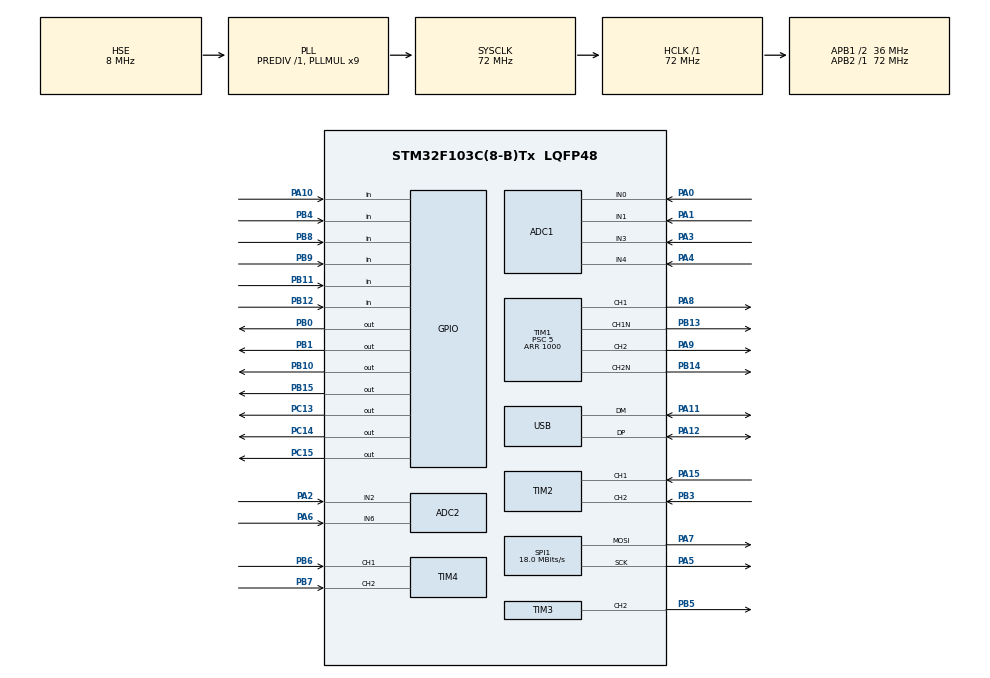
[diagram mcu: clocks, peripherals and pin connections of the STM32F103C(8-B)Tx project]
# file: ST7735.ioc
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ADC1.Channel-0\#ChannelRegularConversion=ADC_CHANNEL_0
ADC1.Channel-1\#ChannelRegularConversion=ADC_CHANNEL_1
ADC1.Channel-2\#ChannelRegularConversion=ADC_CHANNEL_3
ADC1.Channel-3\#ChannelRegularConversion=ADC_CHANNEL_4
ADC1.ContinuousConvMode=ENABLE
ADC1.ExternalTrigConv=ADC_SOFTWARE_START
ADC1.NbrOfConversion=4
ADC1.NbrOfConversionFlag=1
ADC1.Rank-0\#ChannelRegularConversion=1
ADC1.Rank-1\#ChannelRegularConversion=2
ADC1.Rank-2\#ChannelRegularConversion=3
ADC1.Rank-3\#ChannelRegularConversion=4
ADC1.SamplingTime-0\#ChannelRegularConversion=ADC_SAMPLETIME_71CYCLES_5
ADC1.SamplingTime-1\#ChannelRegularConversion=ADC_SAMPLETIME_71CYCLES_5
ADC1.SamplingTime-2\#ChannelRegularConversion=ADC_SAMPLETIME_71CYCLES_5
ADC1.SamplingTime-3\#ChannelRegularConversion=ADC_SAMPLETIME_71CYCLES_5
ADC1.master=1
ADC2.Channel-0\#ChannelRegularConversion=ADC_CHANNEL_2
ADC2.ContinuousConvMode=DISABLE
ADC2.ExternalTrigConv=ADC_SOFTWARE_START
ADC2.NbrOfConversion=1
ADC2.NbrOfConversionFlag=1
ADC2.Rank-0\#ChannelRegularConversion=1
ADC2.SamplingTime-0\#ChannelRegularConversion=ADC_SAMPLETIME_239CYCLES_5
Dma.ADC1.1.Direction=DMA_PERIPH_TO_MEMORY
Dma.ADC1.1.Instance=DMA1_Channel1
Dma.ADC1.1.MemDataAlignment=DMA_MDATAALIGN_HALFWORD
Dma.ADC1.1.MemInc=DMA_MINC_ENABLE
Dma.ADC1.1.Mode=DMA_CIRCULAR
Dma.ADC1.1.PeriphDataAlignment=DMA_PDATAALIGN_HALFWORD
Dma.ADC1.1.PeriphInc=DMA_PINC_DISABLE
Dma.ADC1.1.Priority=DMA_PRIORITY_LOW
Dma.Request0=SPI1_TX
Dma.Request1=ADC1
Dma.SPI1_TX.0.Direction=DMA_MEMORY_TO_PERIPH
Dma.SPI1_TX.0.Instance=DMA1_Channel3
Dma.SPI1_TX.0.MemDataAlignment=DMA_MDATAALIGN_HALFWORD
Dma.SPI1_TX.0.MemInc=DMA_MINC_ENABLE
Dma.SPI1_TX.0.Mode=DMA_NORMAL
Dma.SPI1_TX.0.PeriphDataAlignment=DMA_PDATAALIGN_HALFWORD
Dma.SPI1_TX.0.PeriphInc=DMA_PINC_DISABLE
Dma.SPI1_TX.0.Priority=DMA_PRIORITY_LOW
Mcu.Family=STM32F1
Mcu.Name=STM32F103C(8-B)Tx
Mcu.Package=LQFP48
NVIC.ADC1_2_IRQn=true\:0\:0\:false\:false\:true\:true\:true\:true
NVIC.DMA1_Channel1_IRQn=true\:0\:0\:false\:false\:true\:false\:true\:true
NVIC.DMA1_Channel3_IRQn=true\:0\:0\:false\:false\:true\:false\:true\:true
NVIC.PriorityGroup=NVIC_PRIORITYGROUP_4
NVIC.TIM1_UP_IRQn=true\:0\:0\:false\:false\:true\:true\:true\:true
NVIC.USB_LP_CAN1_RX0_IRQn=true\:0\:0\:false\:false\:true\:false\:true\:true
PA0-WKUP.Signal=ADCx_IN0
PA1.Signal=ADCx_IN1
PA10.GPIO_PuPd=GPIO_PULLUP
PA10.Signal=GPIO_Input
PA11.Mode=Device
PA11.Signal=USB_DM
PA12.Mode=Device
PA12.Signal=USB_DP
PA13.Mode=Serial_Wire
PA13.Signal=SYS_JTMS-SWDIO
PA14.Mode=Serial_Wire
PA14.Signal=SYS_JTCK-SWCLK
PA15.Signal=S_TIM2_CH1_ETR
PA2.Signal=ADCx_IN2
PA3.Signal=ADCx_IN3
PA4.Signal=ADCx_IN4
PA5.Mode=TX_Only_Simplex_Unidirect_Master
PA5.Signal=SPI1_SCK
PA6.Signal=ADCx_IN6
PA7.Mode=TX_Only_Simplex_Unidirect_Master
PA7.Signal=SPI1_MOSI
PA8.Signal=S_TIM1_CH1
PA9.Signal=S_TIM1_CH2
PB0.Signal=GPIO_Output
PB1.Signal=GPIO_Output
PB10.Signal=GPIO_Output
PB11.Signal=GPIO_Input
PB12.GPIO_PuPd=GPIO_PULLUP
PB12.Signal=GPIO_Input
PB13.Mode=PWM Generation1 CH1 CH1N
PB13.Signal=TIM1_CH1N
PB14.Mode=PWM Generation2 CH2 CH2N
PB14.Signal=TIM1_CH2N
PB15.Signal=GPIO_Output
PB3.Signal=S_TIM2_CH2
PB4.GPIO_PuPd=GPIO_PULLUP
PB4.Signal=GPIO_Input
PB5.Signal=S_TIM3_CH2
PB6.Signal=S_TIM4_CH1
PB7.Signal=S_TIM4_CH2
PB8.GPIO_PuPd=GPIO_PULLUP
PB8.Signal=GPIO_Input
PB9.GPIO_PuPd=GPIO_PULLUP
PB9.Signal=GPIO_Input
PC13-TAMPER-RTC.Signal=GPIO_Output
PC14-OSC32_IN.Signal=GPIO_Output
PC15-OSC32_OUT.Signal=GPIO_Output
PD0-OSC_IN.Mode=HSE-External-Oscillator
PD0-OSC_IN.Signal=RCC_OSC_IN
PD1-OSC_OUT.Mode=HSE-External-Oscillator
PD1-OSC_OUT.Signal=RCC_OSC_OUT
ProjectManager.HeapSize=0x200
ProjectManager.StackSize=0x400
ProjectManager.TargetToolchain=MDK-ARM V5.32
RCC.ADCPresc=RCC_ADCPCLK2_DIV6
RCC.AHBFreq_Value=72000000
RCC.APB1CLKDivider=RCC_HCLK_DIV2
RCC.APB1Freq_Value=36000000
RCC.APB1TimFreq_Value=72000000
RCC.APB2Freq_Value=72000000
RCC.APB2TimFreq_Value=72000000
RCC.HCLKFreq_Value=72000000
RCC.PLLMUL=RCC_PLL_MUL9
RCC.PLLSourceVirtual=RCC_PLLSOURCE_HSE
RCC.SYSCLKFreq_VALUE=72000000
RCC.SYSCLKSource=RCC_SYSCLKSOURCE_PLLCLK
RCC.USBFreq_Value=48000000
RCC.USBPrescaler=RCC_USBCLKSOURCE_PLL_DIV1_5
SH.ADCx_IN0.0=ADC1_IN0,IN0
SH.ADCx_IN1.0=ADC1_IN1,IN1
SH.ADCx_IN2.0=ADC2_IN2,IN2
SH.ADCx_IN3.0=ADC1_IN3,IN3
SH.ADCx_IN4.0=ADC1_IN4,IN4
SH.ADCx_IN6.0=ADC2_IN6,IN6
SH.S_TIM1_CH1.0=TIM1_CH1,PWM Generation1 CH1 CH1N
SH.S_TIM1_CH2.0=TIM1_CH2,PWM Generation2 CH2 CH2N
SH.S_TIM2_CH1_ETR.0=TIM2_CH1,Encoder_Interface
SH.S_TIM2_CH2.0=TIM2_CH2,Encoder_Interface
SH.S_TIM3_CH2.0=TIM3_CH2,PWM Generation2 CH2
SH.S_TIM4_CH1.0=TIM4_CH1,Encoder_Interface
SH.S_TIM4_CH2.0=TIM4_CH2,Encoder_Interface
SPI1.BaudRatePrescaler=SPI_BAUDRATEPRESCALER_4
SPI1.CalculateBaudRate=18.0 MBits/s
SPI1.DataSize=SPI_DATASIZE_8BIT
SPI1.Direction=SPI_DIRECTION_2LINES
SPI1.Mode=SPI_MODE_MASTER
SPI1.VirtualType=VM_MASTER
TIM1.Channel-PWM\ Generation1\ CH1\ CH1N=TIM_CHANNEL_1
TIM1.Channel-PWM\ Generation2\ CH2\ CH2N=TIM_CHANNEL_2
TIM1.DeadTime=25
TIM1.OCNPolarity_2=TIM_OCNPOLARITY_LOW
TIM1.OCPolarity_2=TIM_OCPOLARITY_LOW
TIM1.Period=1000
TIM1.Prescaler=5
TIM1.TIM_MasterOutputTrigger=TIM_TRGO_OC3REF
TIM2.EncoderMode=TIM_ENCODERMODE_TI12
TIM3.AutoReloadPreload=TIM_AUTORELOAD_PRELOAD_ENABLE
TIM3.Channel-PWM\ Generation2\ CH2=TIM_CHANNEL_2
TIM3.OCPolarity_2=TIM_OCPOLARITY_LOW
TIM3.Period=1000
TIM3.Prescaler=35
TIM3.TIM_MasterOutputTrigger=TIM_TRGO_UPDATE
TIM4.EncoderMode=TIM_ENCODERMODE_TI12
USB_DEVICE.APP_RX_DATA_SIZE=64
USB_DEVICE.APP_TX_DATA_SIZE=64
USB_DEVICE.CLASS_NAME_FS=CDC
USB_DEVICE.MANUFACTURER_STRING=Dung_Device
USB_DEVICE.VirtualMode=Cdc
USB_DEVICE.VirtualModeFS=Cdc_FS
VP_TIM1_VS_ClockSourceINT.Mode=Internal
VP_TIM3_VS_ClockSourceINT.Mode=Internal
VP_USB_DEVICE_VS_USB_DEVICE_CDC_FS.Mode=CDC_FS
board=custom

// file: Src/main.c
/* USER CODE BEGIN Header */
/**
  ******************************************************************************
  * @file           : main.c
  * @brief          : Main program body
  ******************************************************************************
  * @attention
  *
  * <h2><center>&copy; Copyright (c) 2020 STMicroelectronics.
  * All rights reserved.</center></h2>
  *
  * This software component is licensed by ST under BSD 3-Clause license,
  * the "License"; You may not use this file except in compliance with the
  * License. You may obtain a copy of the License at:
  *                        opensource.org/licenses/BSD-3-Clause
  *
  ******************************************************************************
  */
/* USER CODE END Header */
#include "main.h"
#include "usb_device.h"

/* USER CODE BEGIN Includes */
#include <string.h>
#include "st7789.h"
#include <stdio.h>
#include <math.h>
#include "UI.h"
/* USER CODE END Includes */

ADC_HandleTypeDef hadc1;
ADC_HandleTypeDef hadc2;
DMA_HandleTypeDef hdma_adc1;

SPI_HandleTypeDef hspi1;
DMA_HandleTypeDef hdma_spi1_tx;

TIM_HandleTypeDef htim1;
TIM_HandleTypeDef htim2;
TIM_HandleTypeDef htim3;
TIM_HandleTypeDef htim4;

void SystemClock_Config(void);
static void MX_GPIO_Init(void);
static void MX_DMA_Init(void);
static void MX_SPI1_Init(void);
static void MX_ADC1_Init(void);
static void MX_ADC2_Init(void);
static void MX_TIM1_Init(void);
static void MX_TIM2_Init(void);
static void MX_TIM3_Init(void);
static void MX_TIM4_Init(void);

/* USER CODE BEGIN 0 */

/* =========================================================
 * ADC / POWER STAGE CONSTANTS
 * ========================================================= */

#define ADC_MAX                     4095.0f
#define VREF                        3.3f

#define VIN_DIV_GAIN                11.131f
/*
 * VOUT sensing divider:
 *
 *   Vout ---- 220 kOhm ----+---- ADC
 *                          |
 *                         10 kOhm
 *                          |
 *                         GND
 *
 * Gain = (220k + 10k) / 10k = 23.0
 *
 * 50 V -> ADC ~= 2.17 V
 * 60 V -> ADC ~= 2.61 V
 */
#define VOUT_DIV_GAIN               23.000f

/*
 * VIN low-voltage protection threshold.
 *
 * TEMPORARILY DISABLED for debugging.
 *
 * Keep VIN_MIN_PROTECT = 2.0 V because other code uses it only
 * as a validity threshold for the idle VIN reference.
 *
 * Set VIN_MIN_PROTECT_ENABLE back to 1U when testing is finished.
 */
#define VIN_MIN_PROTECT             2.0f
#define VIN_MIN_PROTECT_ENABLE      0U
#define TEMP_MAX_PROTECT            80.0f

#define CURRENT_MAX                 20.0f
/*
 * Power-stage current targets:
 *   continuous = 12 A
 *   hardware peak capability target = 20 A
 *
 * CURRENT_GAIN=100 and SHUNT_R=0.002:
 *   Vsense = I * 0.2 V
 *   ADC 3.3 V full-scale -> ~16.5 A
 *
 * So software hard OCP is kept below ADC saturation.
 */
#define I_CONTINUOUS_MAX_A           12.0f
#define I_PEAK_HARDWARE_A            20.0f
#define I_HARD_LIMIT_A               15.5f
#define POWER_START_BLANK_MS        200U

#define CURRENT_GAIN                100.0f
#define SHUNT_R                     0.002f

/* =========================================================
 * SETPOINT / RATIO LIMITS
 * ========================================================= */

#define VSET_MIN                    1.0f
#define VSET_MAX                    50.0f
#define VSET_STEP                   0.1f

#define ISET_MIN                    0.1f
#define ISET_MAX                    I_CONTINUOUS_MAX_A
#define ISET_STEP                   0.1f

/*
 * =========================================================
 * PURE SYNCHRONOUS BUCK
 * =========================================================
 *
 * Old BOOST high-side path Q3 is bypassed in hardware.
 * Old BOOST low-side Q4 MUST NEVER turn on.
 *
 * Active power-stage PWM:
 *
 *   TIM1_CH1  -> IR2101 HIN -> Q1 high-side
 *   TIM1_CH1N -> IR2101 LIN -> Q2 low-side
 *
 * Disabled:
 *
 *   TIM1_CH2 / TIM1_CH2N
 *
 * Ideal relation:
 *
 *   Vout ~= D_buck * Vin
 *
 * High-side duty is clamped to 3..97 % of TIM1->ARR.
 * This guarantees at least ~3 % complementary low-side time
 * for bootstrap refresh.
 * ========================================================= */

#define BUCK_DUTY_MIN                0.03f
#define BUCK_DUTY_MAX                0.97f

#define POWERSTAGE_DUTY_MIN          BUCK_DUTY_MIN
#define POWERSTAGE_DUTY_MAX          BUCK_DUTY_MAX

/*
 * Keep the old variable/function names "ratio" for minimum code churn.
 * In PURE BUCK, ratio means direct high-side duty.
 */
#define RATIO_MIN                    BUCK_DUTY_MIN
#define RATIO_MAX                    BUCK_DUTY_MAX

/* =========================================================
 * CONTROL FREQUENCIES
 *
 * TIM1 clock = 72 MHz
 *
 * PSC = 5
 * ARR = 799
 *
 * PWM:
 *   72 MHz / (5 + 1) / (799 + 1)
 *   = 15 kHz
 *
 * RCR = 2:
 *   Update IRQ = 15 kHz / (2 + 1)
 *              = 5 kHz
 *
 * CC:
 *   5 kHz
 *   Ts = 200 us
 *
 * CV:
 *   5 kHz / 5
 *   = 1 kHz
 *   Ts = 1 ms
 * ========================================================= */

#define CC_CTRL_HZ                  5000.0f
#define CV_CTRL_HZ                  1000.0f

#define CC_CTRL_TS                  0.0002f
#define CV_CTRL_TS                  0.0010f

#define CV_LOOP_DIV                 5U

/* =========================================================
 * PI PARAMETERS
 * ========================================================= */

#define CV_KP                       0.01f
#define CV_KI                       1.9f

#define CC_KP                       0.01f
#define CC_KI                       1.5f

#define CV_I_MIN                   -0.30f
#define CV_I_MAX                    0.30f

#define CC_I_MIN                   -0.30f
#define CC_I_MAX                    0.30f

#define SOFTSTART_RATE_VS           20.0f

/* =========================================================
 * RESPONSE PROFILE
 *
 * TIMING OF CONTROL LOOPS DOES NOT CHANGE:
 *   CC = 5 kHz
 *   CV = 1 kHz
 *
 * FAST / NORMAL / SLOW change:
 *   - PI aggressiveness
 *   - Vout/Iout measurement filtering
 *   - CC current filtering
 *
 * UI refresh/filter speed is changed in UI.c.
 * ========================================================= */

/*
 * Forward declaration.
 * PowerStage is defined later in this file.
 */
extern BBUI_Data_t PowerStage;

typedef struct
{
    float cv_kp_scale;
    float cv_ki_scale;

    float cc_kp_scale;
    float cc_ki_scale;

    float vout_alpha;
    float current_alpha;
    float current_ctrl_alpha;

} PowerResponseProfile_t;

static PowerResponseProfile_t
PowerStage_GetResponseProfile(void)
{
    PowerResponseProfile_t p;

    switch(PowerStage.response_mode)
    {
        case BB_RESPONSE_FAST:
        {
            /*
             * Faster response, lighter filtering.
             * Keep gain increase modest because BOOST is more sensitive.
             */
            p.cv_kp_scale = 1.15f;
            p.cv_ki_scale = 1.10f;

            p.cc_kp_scale = 1.15f;
            p.cc_ki_scale = 1.10f;

            p.vout_alpha = 0.65f;
            p.current_alpha = 0.65f;
            p.current_ctrl_alpha = 0.65f;
        }
        break;

        case BB_RESPONSE_SLOW:
        {
            /*
             * Smooth response, strong filtering.
             */
            p.cv_kp_scale = 0.75f;
            p.cv_ki_scale = 0.60f;

            p.cc_kp_scale = 0.75f;
            p.cc_ki_scale = 0.60f;

            p.vout_alpha = 0.20f;
            p.current_alpha = 0.20f;
            p.current_ctrl_alpha = 0.20f;
        }
        break;

        case BB_RESPONSE_NORMAL:
        default:
        {
            p.cv_kp_scale = 1.00f;
            p.cv_ki_scale = 1.00f;

            p.cc_kp_scale = 1.00f;
            p.cc_ki_scale = 1.00f;

            p.vout_alpha = 0.40f;
            p.current_alpha = 0.40f;
            p.current_ctrl_alpha = 0.40f;
        }
        break;
    }

    return p;
}

/* =========================================================
 * INPUT VOLTAGE DROOP LIMITER
 * ========================================================= */

#define VIN_FILTER_ALPHA            0.20f
#define VIN_REF_UPDATE_ALPHA        0.05f

#define VIN_DROOP_ENTER_RATIO       0.90f
#define VIN_DROOP_EXIT_RATIO        0.93f

#define VIN_LIMIT_DOWN_RATE_AS      100.0f
#define VIN_LIMIT_UP_RATE_AS        5.0f

#define VIN_LIMIT_MIN_CURRENT       0.20f

/* =========================================================
 * VIN FIR FILTER
 *
 * Sampled at CC frequency = 5 kHz
 * N = 8
 *
 * Group delay:
 *   (N - 1) / 2 * Ts
 *   = 3.5 * 200 us
 *   = 0.7 ms
 * ========================================================= */

#define VIN_FIR_N                   8U

static float vin_fir_buf[VIN_FIR_N] = {0.0f};
static float vin_fir_sum = 0.0f;
static uint8_t vin_fir_index = 0U;
static uint8_t vin_fir_count = 0U;

/* =========================================================
 * GLOBAL POWER-STAGE STATE
 * ========================================================= */

BBUI_Data_t PowerStage =
{
    .vin = 0.0f,
    .vout = 0.0f,
    .current = 0.0f,
    .temp = 0.0f,

    .vset = 12.0f,
    .iset = 2.0f,

    .enable = 0U,
    .state = BBUI_STATE_OFF,

    .batt_cells = 3,
    .active_preset = 0,
    .mqtt_enable = 0,

    .max_input_power = 200.0f,
    .start_mode = BB_START_SOFT,
    .response_mode = BB_RESPONSE_NORMAL,

    .control_mode = BB_CONTROL_CLOSED,
    .openloop_ratio = 0.50f,

    .preset =
    {
        {12.0f, 5.0f},
        {16.8f, 3.0f},
        {20.0f, 2.5f}
    }
};

/* =========================================================
 * ADC DMA
 * ========================================================= */

#define ADC1_DMA_LEN                4U
#define ADC_AVG_SAMPLES             30U

uint16_t adc1_dma_buf[ADC1_DMA_LEN];
uint8_t adc1_dma_ready = 0U;

static uint32_t adc_sum[ADC1_DMA_LEN] = {0U};
static uint16_t adc_avg[ADC1_DMA_LEN] = {0U};
static uint16_t adc_sample_cnt = 0U;

int adc_calib_offset = 0;

/* =========================================================
 * CONTROL STATE
 * ========================================================= */

static uint8_t PowerStage_pwm_running = 0U;
/*
 * =========================================================
 * POWER-STAGE FAULT CODE
 *
 * Exported to UI.c so the buzzer can identify faults that
 * originate inside the 5-kHz power-stage controller.
 *
 * 0 = none
 * 1 = VIN dropped while output was already running
 * 2 = power-stage temperature fault
 * 3 = hard-current fault
 * ========================================================= */
#define POWER_FAULT_NONE          0U
#define POWER_FAULT_VIN_LOW       1U
#define POWER_FAULT_TEMP          2U
#define POWER_FAULT_HARD_CURRENT  3U

volatile uint8_t g_power_fault_code =
    POWER_FAULT_NONE;

/*
 * Snapshot captured BEFORE the power stage is shut down.
 * UI.c uses these values on the full-screen FAULT page.
 */
volatile float g_power_fault_vin = 0.0f;
volatile float g_power_fault_vout = 0.0f;
volatile float g_power_fault_current = 0.0f;
volatile float g_power_fault_temp = 0.0f;

volatile float g_power_fault_value = 0.0f;
volatile float g_power_fault_limit = 0.0f;

static uint8_t power_prev_enable = 0U;

static BBUI_ControlMode_t
power_prev_control_mode = BB_CONTROL_CLOSED;

static uint32_t power_start_tick = 0U;

static float cv_i = 0.0f;
static float cc_i = 0.0f;

static float vref_soft = 0.0f;

static float ratio_cv = RATIO_MIN;
static float ratio_cc = RATIO_MIN;
static float ratio_out = RATIO_MIN;

static float effective_iset = 0.0f;

/*
 * current_fast:
 *   raw / latest sample, used for HARD over-current protection.
 *
 * current_ctrl:
 *   filtered current used by the 5 kHz CC controller.
 */
static float current_fast = 0.0f;

/*
 * current_fast 3-sample moving average
 *
 * Used by the hard-current protection.
 * Purpose:
 *   - reject a single switching/ADC spike
 *   - keep response much faster than the normal CC current filter
 *
 * At the 5-kHz power-control service rate, 3 samples correspond
 * to roughly 0.4...0.6 ms of history.
 */
#define CURRENT_FAST_AVG_N  3U

static float current_fast_buf[CURRENT_FAST_AVG_N] =
{
    0.0f, 0.0f, 0.0f
};

static float current_fast_sum = 0.0f;
static uint8_t current_fast_index = 0U;
static uint8_t current_fast_count = 0U;

static float CurrentFast_Filter3(float sample)
{
    /*
     * During the first three readings, average only the number
     * of valid samples already received. This avoids averaging
     * the first real current sample against two zeros.
     */
    if(current_fast_count <
       CURRENT_FAST_AVG_N)
    {
        current_fast_buf[current_fast_index] =
            sample;

        current_fast_sum +=
            sample;

        current_fast_count++;

        current_fast_index++;

        if(current_fast_index >=
           CURRENT_FAST_AVG_N)
        {
            current_fast_index =
                0U;
        }

        return current_fast_sum /
               (float)current_fast_count;
    }

    /*
     * Normal 3-point moving average.
     */
    current_fast_sum -=
        current_fast_buf[current_fast_index];

    current_fast_buf[current_fast_index] =
        sample;

    current_fast_sum +=
        sample;

    current_fast_index++;

    if(current_fast_index >=
       CURRENT_FAST_AVG_N)
    {
        current_fast_index =
            0U;
    }

    return current_fast_sum /
           (float)CURRENT_FAST_AVG_N;
}
static float current_ctrl = 0.0f;
static uint8_t current_ctrl_filter_init = 0U;

static float vin_raw_fast = 0.0f;

static float vin_filtered_droop = 0.0f;
static float vin_reference = 0.0f;
static float input_limited_iset = 0.0f;

static uint8_t vin_filter_init = 0U;
static uint8_t input_limit_active = 0U;

/* Debug counters */
volatile uint32_t tim1_irq_count = 0U;
volatile uint32_t cc_loop_count = 0U;
volatile uint32_t cv_loop_count = 0U;

/* =========================================================
 * BASIC HELPERS
 * ========================================================= */

static float clampf(float x,
                    float min,
                    float max)
{
    if(x < min)
        return min;

    if(x > max)
        return max;

    return x;
}

static float ADC_To_Voltage(uint16_t adc)
{
    return ((float)adc * VREF) / ADC_MAX;
}

static float Read_Vout(uint16_t adc_vout)
{
    return ADC_To_Voltage(adc_vout) *
           VOUT_DIV_GAIN;
}

static float Read_Vin(uint16_t adc_vin)
{
    return ADC_To_Voltage(adc_vin) *
           VIN_DIV_GAIN;
}

static float Read_Current(uint16_t adc_current)
{
    float v_adc =
        ((float)adc_current * VREF) /
        ADC_MAX;

    float current =
        v_adc /
        CURRENT_GAIN /
        SHUNT_R;

    if(current < 0.0f)
        current = 0.0f;

    return current;
}

/* =========================================================
 * VIN FIR
 * ========================================================= */

static float Vin_FIR_Filter(float vin_new)
{
    vin_fir_sum -=
        vin_fir_buf[vin_fir_index];

    vin_fir_buf[vin_fir_index] =
        vin_new;

    vin_fir_sum +=
        vin_new;

    vin_fir_index++;

    if(vin_fir_index >= VIN_FIR_N)
        vin_fir_index = 0U;

    if(vin_fir_count < VIN_FIR_N)
        vin_fir_count++;

    return vin_fir_sum /
           (float)vin_fir_count;
}

/* =========================================================
 * NTC
 * ========================================================= */

static uint16_t ADC_Read_Channel(
    ADC_HandleTypeDef *hadc,
    uint32_t channel)
{
    ADC_ChannelConfTypeDef sConfig = {0};

    sConfig.Channel = channel;
    sConfig.Rank = ADC_REGULAR_RANK_1;
    sConfig.SamplingTime =
        ADC_SAMPLETIME_239CYCLES_5;

    HAL_ADC_ConfigChannel(
        hadc,
        &sConfig
    );

    HAL_ADC_Start(hadc);
    HAL_ADC_PollForConversion(
        hadc,
        10
    );

    uint32_t adc_value =
        HAL_ADC_GetValue(hadc);

    HAL_ADC_Stop(hadc);

    return (uint16_t)adc_value;
}

uint16_t raw = 0U;

static float Read_NTC_Temp(void)
{
    raw =
        ADC_Read_Channel(
            &hadc2,
            ADC_CHANNEL_2
        );

    const float RFIX = 50000.0f;
    const float R0 = 50000.0f;
    const float T0 = 298.15f;
    const float BETA = 3950.0f;

    float v =
        ((float)raw / ADC_MAX) *
        VREF;

    if(v <= 0.01f ||
       v >= (VREF - 0.01f))
    {
        return -100.0f;
    }

    float r_ntc =
        RFIX *
        v /
        (VREF - v);

    float temp_k =
        1.0f /
        (
            (1.0f / T0) +
            (1.0f / BETA) *
            logf(r_ntc / R0)
        );

    return temp_k -
           273.15f +
           30.0f;
}

/* =========================================================
 * PWM OUTPUT
 *
 * TIM1 counter must keep running continuously because its
 * Update interrupt is the CC/CV scheduler.
 *
 * OFF:
 *      MOE = 0
 *
 * ON:
 *      MOE = 1
 *
 * Do NOT HAL_TIM_PWM_Stop() while TIM1 is used for control IRQ.
 * ========================================================= */

static void PowerStage_Start(void)
{
    /*
     * PURE BUCK safety:
     * old BOOST outputs stay disabled on every start.
     */
    TIM1->CCR2 = 0U;

    TIM1->CCER &=
        ~(
            TIM_CCER_CC2E |
            TIM_CCER_CC2NE
         );

    __HAL_TIM_MOE_ENABLE(
        &htim1
    );

    PowerStage_pwm_running = 1U;
}

static void PowerStage_Stop(void)
{
    /*
     * PURE BUCK OFF.
     *
     * Prepare zero duty and permanently disable old BOOST outputs.
     */
    TIM1->CCR1 = 0U;
    TIM1->CCR2 = 0U;

    TIM1->CCER &=
        ~(
            TIM_CCER_CC2E |
            TIM_CCER_CC2NE
         );

    __HAL_TIM_MOE_DISABLE(
        &htim1
    );

    PowerStage_pwm_running = 0U;
}

uint16_t duty_buck = 0U;

/* =========================================================
 * PURE BUCK DUTY WRITER
 * ========================================================= */

static void PowerStage_ApplyBuckDuty(
    float d_buck_hs)
{
    /*
     * Clamp normalized command first.
     */
    d_buck_hs =
        clampf(
            d_buck_hs,
            BUCK_DUTY_MIN,
            BUCK_DUTY_MAX
        );

    /*
     * User-requested clamp is referenced directly to TIM1->ARR:
     *
     *   CCR_MIN = 3 %  of ARR
     *   CCR_MAX = 97 % of ARR
     *
     * With ARR = 799:
     *
     *   CCR_MIN = round(0.03 * 799) = 24
     *   CCR_MAX = round(0.97 * 799) = 775
     */
    uint32_t arr =
        TIM1->ARR;

    uint32_t ccr_min =
        (uint32_t)(
            BUCK_DUTY_MIN *
            (float)arr +
            0.5f
        );

    uint32_t ccr_max =
        (uint32_t)(
            BUCK_DUTY_MAX *
            (float)arr +
            0.5f
        );

    uint32_t ccr1 =
        (uint32_t)(
            d_buck_hs *
            (float)arr +
            0.5f
        );

    if(ccr1 < ccr_min)
    {
        ccr1 = ccr_min;
    }
    else if(ccr1 > ccr_max)
    {
        ccr1 = ccr_max;
    }

    duty_buck =
        (uint16_t)ccr1;

    TIM1->CCR1 =
        ccr1;
}

/* =========================================================
 * PURE BUCK SET DUTY
 *
 * API name is retained to avoid rewriting the whole UI/control
 * layer, but "ratio" now means:
 *
 *       ratio = D_buck ~= Vout / Vin
 *
 * It no longer means Vout/(Vin+Vout).
 * ========================================================= */

void PowerStage_SetRatio(
    float ratio)
{
    PowerStage_ApplyBuckDuty(
        ratio
    );
}

static void PowerStage_SetOpenLoopRatio(
    float ratio)
{
    ratio = clampf(
        ratio,
        RATIO_MIN,
        RATIO_MAX
    );

    PowerStage.openloop_ratio = ratio;
    PowerStage_SetRatio(ratio);
}

/* =========================================================
 * INPUT VOLTAGE REFERENCE / DROOP LIMIT
 * ========================================================= */

static void PowerStage_UpdateIdleVinReference(void)
{
    if((PowerStage.enable == 0U) &&
       (PowerStage.vin >
        VIN_MIN_PROTECT))
    {
        if(vin_reference <
           VIN_MIN_PROTECT)
        {
            vin_reference =
                PowerStage.vin;
        }
        else
        {
            vin_reference +=
                VIN_REF_UPDATE_ALPHA *
                (
                    PowerStage.vin -
                    vin_reference
                );
        }
    }
}

static void PowerStage_InputDroopRuntimeReset(void)
{
    vin_filtered_droop =
        PowerStage.vin;

    input_limited_iset =
        PowerStage.iset;

    vin_filter_init = 1U;
    input_limit_active = 0U;
}

static float PowerStage_GetInputDroopCurrentLimit(void)
{
    if(vin_filter_init == 0U)
    {
        PowerStage_InputDroopRuntimeReset();
    }

    vin_filtered_droop +=
        VIN_FILTER_ALPHA *
        (
            PowerStage.vin -
            vin_filtered_droop
        );

    if(vin_reference <
       VIN_MIN_PROTECT)
    {
        vin_reference =
            PowerStage.vin;
    }

    float vin_enter =
        vin_reference *
        VIN_DROOP_ENTER_RATIO;

    float vin_exit =
        vin_reference *
        VIN_DROOP_EXIT_RATIO;

    if(input_limit_active == 0U)
    {
        if(vin_filtered_droop <=
           vin_enter)
        {
            input_limit_active = 1U;
        }
    }
    else
    {
        if(vin_filtered_droop >=
           vin_exit)
        {
            input_limit_active = 0U;
        }
    }

    if(input_limited_iset >
       PowerStage.iset)
    {
        input_limited_iset =
            PowerStage.iset;
    }

    /*
     * This function runs at CV frequency = 1 kHz.
     */
    if(input_limit_active != 0U)
    {
        input_limited_iset -=
            VIN_LIMIT_DOWN_RATE_AS *
            CV_CTRL_TS;
    }
    else
    {
        input_limited_iset +=
            VIN_LIMIT_UP_RATE_AS *
            CV_CTRL_TS;
    }

    input_limited_iset =
        clampf(
            input_limited_iset,
            VIN_LIMIT_MIN_CURRENT,
            PowerStage.iset
        );

    return input_limited_iset;
}

/* =========================================================
 * FEED FORWARD
 * ========================================================= */

static float PowerStage_FeedForward_Ratio(
    float vin,
    float vref)
{
    if(vin < 0.5f)
        return RATIO_MIN;

    if(vref < 0.5f)
        return RATIO_MIN;

    /*
     * PURE BUCK feed-forward:
     *
     *     Vout ~= D * Vin
     *     Dff  = Vref / Vin
     */
    float duty_ff =
        vref /
        vin;

    return clampf(
        duty_ff,
        RATIO_MIN,
        RATIO_MAX
    );
}

/* =========================================================
 * SOFT START REFERENCE
 *
 * Runs only at CV frequency = 1 kHz.
 * ========================================================= */

static void PowerStage_StartReference_1kHz(void)
{
    if(PowerStage.enable == 0U)
    {
        vref_soft = 0.0f;
        return;
    }

    if(PowerStage.start_mode ==
       BB_START_HARD)
    {
        vref_soft =
            PowerStage.vset;

        return;
    }

    if(vref_soft <
       PowerStage.vset)
    {
        vref_soft +=
            SOFTSTART_RATE_VS *
            CV_CTRL_TS;

        if(vref_soft >
           PowerStage.vset)
        {
            vref_soft =
                PowerStage.vset;
        }
    }
    else
    {
        vref_soft =
            PowerStage.vset;
    }
}

/* =========================================================
 * CONTROL RESET
 * ========================================================= */

static void PowerStage_CVCC_Reset(void)
{
    cv_i = 0.0f;
    cc_i = 0.0f;

    vref_soft = 0.0f;

    ratio_cv = RATIO_MIN;
    ratio_cc = RATIO_MIN;
    ratio_out = RATIO_MIN;

    effective_iset =
        PowerStage.iset;

    /*
     * Re-seed the CC current filter on the next ADC sample.
     */
    current_ctrl_filter_init = 0U;
}

/* =========================================================
 * MEASUREMENTS
 *
 * FAST @ 5 kHz:
 *      raw current for CC
 *      raw Vin -> FIR8
 *
 * SLOW @ 1 kHz:
 *      Vout filtered
 *      Current display filtered
 *      idle Vin reference
 * ========================================================= */

static void PowerStage_UpdateMeasurements_5kHz(void)
{
    PowerResponseProfile_t p =
        PowerStage_GetResponseProfile();

    vin_raw_fast =
        Read_Vin(
            adc1_dma_buf[3]
        );

    PowerStage.vin =
        Vin_FIR_Filter(
            vin_raw_fast
        );

    /*
     * Raw current is retained for hard protection.
     */
    current_fast =
        CurrentFast_Filter3(
            Read_Current(
                adc1_dma_buf[1]
            )
        );

    /*
     * Filtered current is used by CC loop.
     *
     * FAST   alpha = 0.65
     * NORMAL alpha = 0.40
     * SLOW   alpha = 0.20
     */
    if(current_ctrl_filter_init == 0U)
    {
        current_ctrl =
            current_fast;

        current_ctrl_filter_init = 1U;
    }
    else
    {
        current_ctrl +=
            p.current_ctrl_alpha *
            (
                current_fast -
                current_ctrl
            );
    }
}

static void PowerStage_UpdateMeasurements_1kHz(void)
{
    if(adc1_dma_ready == 0U)
    {
        PowerStage_UpdateIdleVinReference();
        return;
    }

    float vout_new =
        Read_Vout(
            adc_avg[0]
        );

    float current_new =
        Read_Current(
            adc_avg[1]
        );

    PowerResponseProfile_t p =
        PowerStage_GetResponseProfile();

    PowerStage.vout +=
        p.vout_alpha *
        (
            vout_new -
            PowerStage.vout
        );

    PowerStage.current +=
        p.current_alpha *
        (
            current_new -
            PowerStage.current
        );

    PowerStage_UpdateIdleVinReference();
}

/* =========================================================
 * ENABLE / PROTECTION
 *
 * Called at 5 kHz.
 * ========================================================= */

static uint8_t PowerStage_Service_5kHz(void)
{
    uint32_t now =
        HAL_GetTick();

    /*
     * Output OFF:
     * TIM1 keeps counting.
     * Only PWM outputs are disabled with MOE.
     */
    if(PowerStage.enable == 0U)
    {
        if(power_prev_enable != 0U ||
           PowerStage_pwm_running != 0U)
        {
            PowerStage_Stop();
        }

        power_prev_enable = 0U;

        /*
         * Do not erase a latched FAULT on the next 5-kHz ISR.
         * Previously FAULT survived for only about 200 us, so
         * UI.c could miss the cause before sounding the buzzer.
         */
        if(PowerStage.state !=
           BBUI_STATE_FAULT)
        {
            PowerStage.state =
                BBUI_STATE_OFF;
        }

        PowerStage_CVCC_Reset();

        return 0U;
    }

    /*
     * Do not enable MOSFETs until VIN is valid.
     */
    if((VIN_MIN_PROTECT_ENABLE != 0U) &&
       (PowerStage.vin <
        VIN_MIN_PROTECT))
    {
        /*
         * VIN is considered a FAULT only if the converter was
         * already running. This avoids a false VIN alarm at boot
         * before the ADC has produced a valid input-voltage sample.
         */
        if(power_prev_enable != 0U)
        {
            g_power_fault_code =
                POWER_FAULT_VIN_LOW;

            g_power_fault_vin =
                PowerStage.vin;

            g_power_fault_vout =
                PowerStage.vout;

            g_power_fault_current =
                PowerStage.current;

            g_power_fault_temp =
                PowerStage.temp;

            g_power_fault_value =
                PowerStage.vin;

            g_power_fault_limit =
                VIN_MIN_PROTECT;

            PowerStage.enable =
                0U;

            PowerStage.state =
                BBUI_STATE_FAULT;
        }
        else
        {
            PowerStage.state =
                BBUI_STATE_OFF;
        }

        PowerStage_Stop();

        power_prev_enable = 0U;

        return 0U;
    }

    /*
     * OFF -> ON edge.
     */
    if(power_prev_enable == 0U)
    {
        /*
         * A new run starts with no stale power-stage fault code.
         */
        g_power_fault_code =
            POWER_FAULT_NONE;

        power_start_tick =
            now;

        PowerStage_CVCC_Reset();

        PowerStage_InputDroopRuntimeReset();

        /*
         * Prepare duty BEFORE enabling MOE.
         *
         * CLOSED -> closed-loop safe minimum ratio.
         * OPEN   -> user's manual open-loop ratio.
         */
        if(PowerStage.control_mode ==
           BB_CONTROL_OPEN)
        {
            PowerStage_SetOpenLoopRatio(
                PowerStage.openloop_ratio
            );
        }
        else
        {
            PowerStage_SetRatio(
                RATIO_MIN
            );
        }

        PowerStage_Start();

        power_prev_enable = 1U;
    }

    /*
     * Temperature fault.
     */
    if(PowerStage.temp >
       TEMP_MAX_PROTECT)
    {
        g_power_fault_code =
            POWER_FAULT_TEMP;

        g_power_fault_vin =
            PowerStage.vin;

        g_power_fault_vout =
            PowerStage.vout;

        g_power_fault_current =
            PowerStage.current;

        g_power_fault_temp =
            PowerStage.temp;

        g_power_fault_value =
            PowerStage.temp;

        g_power_fault_limit =
            TEMP_MAX_PROTECT;

        PowerStage_CVCC_Reset();

        PowerStage.enable = 0U;
        PowerStage.state =
            BBUI_STATE_FAULT;

        PowerStage_Stop();

        power_prev_enable = 0U;

        return 0U;
    }

    /*
     * Hard-current fault.
     *
     * Use current_fast, not the slow display current.
     */
    if((uint32_t)(
           now -
           power_start_tick
       ) >= POWER_START_BLANK_MS)
    {
        if(current_fast >
           I_HARD_LIMIT_A)
        {
            g_power_fault_code =
                POWER_FAULT_HARD_CURRENT;

            g_power_fault_vin =
                PowerStage.vin;

            g_power_fault_vout =
                PowerStage.vout;

            /*
             * Store the fast 3-sample current that actually
             * crossed the hard-current threshold.
             */
            g_power_fault_current =
                current_fast;

            g_power_fault_temp =
                PowerStage.temp;

            g_power_fault_value =
                current_fast;

            g_power_fault_limit =
                I_HARD_LIMIT_A;

            PowerStage_CVCC_Reset();

            PowerStage.enable = 0U;
            PowerStage.state =
                BBUI_STATE_FAULT;

            PowerStage_Stop();

            power_prev_enable = 0U;

            return 0U;
        }
    }

    return 1U;
}

/* =========================================================
 * CV LOOP = 1 kHz
 *
 * Ts = 1 ms
 *
 * Only calculates buck duty command ratio_cv.
 * Final duty is selected by CC loop using:
 *
 *      ratio_out = min(ratio_cv, ratio_cc)
 * ========================================================= */

static void PowerStage_CV_Loop_1kHz(void)
{
    cv_loop_count++;

    PowerResponseProfile_t p =
        PowerStage_GetResponseProfile();

    float cv_kp =
        CV_KP * p.cv_kp_scale;

    float cv_ki =
        CV_KI * p.cv_ki_scale;

    PowerStage_StartReference_1kHz();

    effective_iset =
        PowerStage_GetInputDroopCurrentLimit();

    float ratio_ff =
        PowerStage_FeedForward_Ratio(
            PowerStage.vin,
            vref_soft
        );

    float err_v =
        vref_soft -
        PowerStage.vout;

    float cv_i_new =
        cv_i +
        cv_ki *
        err_v *
        CV_CTRL_TS;

    cv_i_new =
        clampf(
            cv_i_new,
            CV_I_MIN,
            CV_I_MAX
        );

    float ratio_cv_unsat =
        ratio_ff +
        cv_kp * err_v +
        cv_i_new;

    /*
     * Anti-windup.
     */
    if(!(
        (
            ratio_cv_unsat >
            RATIO_MAX &&
            err_v > 0.0f
        ) ||
        (
            ratio_cv_unsat <
            RATIO_MIN &&
            err_v < 0.0f
        )
    ))
    {
        cv_i = cv_i_new;
    }

    ratio_cv =
        ratio_ff +
        cv_kp * err_v +
        cv_i;

    ratio_cv =
        clampf(
            ratio_cv,
            RATIO_MIN,
            RATIO_MAX
        );
}

/* =========================================================
 * CC LOOP = 5 kHz
 *
 * Ts = 200 us
 *
 * Uses current_fast from latest ADC DMA sample.
 * ========================================================= */

static void PowerStage_CC_Loop_5kHz(void)
{
    cc_loop_count++;

    PowerResponseProfile_t p =
        PowerStage_GetResponseProfile();

    float cc_kp =
        CC_KP * p.cc_kp_scale;

    float cc_ki =
        CC_KI * p.cc_ki_scale;

    float ratio_ff =
        PowerStage_FeedForward_Ratio(
            PowerStage.vin,
            vref_soft
        );

    float err_i =
        effective_iset -
        current_ctrl;

    float cc_i_new =
        cc_i +
        cc_ki *
        err_i *
        CC_CTRL_TS;

    cc_i_new =
        clampf(
            cc_i_new,
            CC_I_MIN,
            CC_I_MAX
        );

    float ratio_cc_unsat =
        ratio_ff +
        cc_kp * err_i +
        cc_i_new;

    /*
     * Anti-windup.
     */
    if(!(
        (
            ratio_cc_unsat >
            RATIO_MAX &&
            err_i > 0.0f
        ) ||
        (
            ratio_cc_unsat <
            RATIO_MIN &&
            err_i < 0.0f
        )
    ))
    {
        cc_i = cc_i_new;
    }

    ratio_cc =
        ratio_ff +
        cc_kp * err_i +
        cc_i;

    ratio_cc =
        clampf(
            ratio_cc,
            RATIO_MIN,
            RATIO_MAX
        );

    /*
     * Tightest limiter wins.
     */
    if(ratio_cc <
       ratio_cv)
    {
        ratio_out =
            ratio_cc;

        PowerStage.state =
            BBUI_STATE_CC;
    }
    else
    {
        ratio_out =
            ratio_cv;

        PowerStage.state =
            BBUI_STATE_CV;
    }

    ratio_out =
        clampf(
            ratio_out,
            RATIO_MIN,
            RATIO_MAX
        );

    PowerStage_SetRatio(
        ratio_out
    );
}

/* =========================================================
 * TIM1 UPDATE ISR CALLBACK
 *
 * TIM1 Update = 5 kHz.
 *
 * Every interrupt:
 *      measurement fast
 *      protection
 *      CC loop
 *
 * Every 5 interrupts:
 *      measurement slow
 *      CV loop
 * ========================================================= */

void HAL_TIM_PeriodElapsedCallback(
    TIM_HandleTypeDef *htim)
{
    if(htim->Instance != TIM1)
        return;

    static uint8_t cv_div = 0U;

    tim1_irq_count++;

    /*
     * Measurement always runs,
     * even when BB output is OFF.
     */
    PowerStage_UpdateMeasurements_5kHz();

    cv_div++;

    uint8_t run_cv = 0U;

    if(cv_div >= CV_LOOP_DIV)
    {
        cv_div = 0U;
        run_cv = 1U;

        PowerStage_UpdateMeasurements_1kHz();
    }

    /*
     * If output is OFF or protection has tripped,
     * do not drive the power stage.
     */
    if(PowerStage_Service_5kHz() == 0U)
    {
        power_prev_control_mode =
            PowerStage.control_mode;

        return;
    }

    /*
     * Reset PI states once when changing CLOSED <-> OPEN.
     * This prevents stale integrators from being reused when
     * returning to closed-loop operation.
     */
    if(power_prev_control_mode !=
       PowerStage.control_mode)
    {
        PowerStage_CVCC_Reset();

        power_prev_control_mode =
            PowerStage.control_mode;
    }

    /*
     * =====================================================
     * OPEN LOOP
     * =====================================================
     *
     * No CV PI.
     * No CC PI.
     *
     * ADC measurement + software protection above remain active.
     */
    if(PowerStage.control_mode ==
       BB_CONTROL_OPEN)
    {
        ratio_out =
            clampf(
                PowerStage.openloop_ratio,
                RATIO_MIN,
                RATIO_MAX
            );

        PowerStage.openloop_ratio =
            ratio_out;

        /*
         * State is only retained for compatibility with the existing UI/
         * protection code. OPEN LOOP itself does not run CV regulation.
         */
        PowerStage.state =
            BBUI_STATE_CV;

        PowerStage_SetOpenLoopRatio(
            ratio_out
        );

        return;
    }

    /*
     * =====================================================
     * CLOSED LOOP
     * =====================================================
     */
    if(run_cv != 0U)
    {
        PowerStage_CV_Loop_1kHz();
    }

    PowerStage_CC_Loop_5kHz();
}

/* =========================================================
 * ADC DMA CALLBACK
 * ========================================================= */

void HAL_ADC_ConvCpltCallback(
    ADC_HandleTypeDef *hadc)
{
    if(hadc->Instance != ADC1)
        return;

    adc_sum[0] +=
        adc1_dma_buf[0];

    adc_sum[1] +=
        adc1_dma_buf[1];

    adc_sum[3] +=
        adc1_dma_buf[3];

    adc_sample_cnt++;

    if(adc_sample_cnt >=
       ADC_AVG_SAMPLES)
    {
        adc_avg[0] =
            (uint16_t)(
                adc_sum[0] /
                ADC_AVG_SAMPLES
            );

        adc_avg[1] =
            (uint16_t)(
                adc_sum[1] /
                ADC_AVG_SAMPLES
            );

        adc_avg[3] =
            (uint16_t)(
                adc_sum[3] /
                ADC_AVG_SAMPLES
            );

        adc_sum[0] = 0U;
        adc_sum[1] = 0U;
        adc_sum[3] = 0U;

        adc_sample_cnt = 0U;

        adc1_dma_ready = 1U;
        adc_calib_offset = 1;
    }
}

/* =========================================================
 * GPIO CALLBACK
 * ========================================================= */

void HAL_GPIO_EXTI_Callback(uint16_t GPIO_Pin)
{
    (void)GPIO_Pin;

    /*
     * PB9 ON/OFF is polled + debounced
     * inside BBUI_Task().
     */
}

/* =========================================================
 * INIT
 * ========================================================= */

void Buck_UI_Init(void)
{
    HAL_ADCEx_Calibration_Start(
        &hadc1
    );

    HAL_ADCEx_Calibration_Start(
        &hadc2
    );

    /*
     * ADC must run before the output can be enabled.
     */
    HAL_ADC_Start_DMA(
        &hadc1,
        (uint32_t *)adc1_dma_buf,
        ADC1_DMA_LEN
    );

    HAL_Delay(100);

    /*
     * UI / encoders.
     */
    BBUI_Init(
        &PowerStage,
        &htim4,
        &htim2
    );

    /*
     * Prepare minimum ratio before TIM1 PWM channels start.
     */
    PowerStage_SetRatio(
        RATIO_MIN
    );

    /*
     * Start TIM1 PWM channels ONCE.
     *
     * TIM1 counter will stay alive permanently.
     */
    /*
     * PURE BUCK:
     * only Q1/Q2 (CH1/CH1N) are PWM driven.
     */
    HAL_TIM_PWM_Start(
        &htim1,
        TIM_CHANNEL_1
    );

    HAL_TIMEx_PWMN_Start(
        &htim1,
        TIM_CHANNEL_1
    );

    /*
     * Never start old BOOST CH2/CH2N.
     */
    TIM1->CCR2 = 0U;

    TIM1->CCER &=
        ~(
            TIM_CCER_CC2E |
            TIM_CCER_CC2NE
         );

    /*
     * Boot with BB output OFF.
     */
    PowerStage_Stop();

    /*
     * TIM1 Update interrupt = 5 kHz.
     */
    HAL_TIM_Base_Start_IT(
        &htim1
    );
}

/* =========================================================
 * TEMPERATURE TASK
 * ========================================================= */

uint32_t lastTime_readTemp = 0U;
float temp_new = 0.0f;

void handle_temp(void)
{
    if(
        (HAL_GetTick() -
         lastTime_readTemp) >
        500U
    )
    {
        lastTime_readTemp =
            HAL_GetTick();

        temp_new =
            Read_NTC_Temp();

        PowerStage.temp =
            PowerStage.temp *
            0.90f +
            temp_new *
            0.10f;
    }
}

int sleep = 0;

/* USER CODE END 0 */

int main(void)
{

  /* MCU Configuration--------------------------------------------------------*/

  /* Reset of all peripherals, Initializes the Flash interface and the Systick. */
  HAL_Init();

  /* Configure the system clock */
  SystemClock_Config();

  /* Initialize all configured peripherals */
  MX_GPIO_Init();
  MX_DMA_Init();
  MX_SPI1_Init();
  MX_ADC1_Init();
  MX_ADC2_Init();
  MX_TIM1_Init();
  MX_TIM2_Init();
  MX_TIM3_Init();
  MX_USB_DEVICE_Init();
  MX_TIM4_Init();
  /* USER CODE BEGIN 2 */
    /*
     * Buck_UI_Init():
     *  - ADC1 calibration + DMA
     *  - power stage OFF
     *  - BBUI_Init(&PowerStage, &htim2, &htim4)
     *  - TIM1 Update = 5 kHz control interrupt
     *  - ST7789 init is performed by BBUI_Init()
     */
    Buck_UI_Init();
    /* Normal buck-boost path selected at boot. */
    HAL_GPIO_WritePin(GPIOB, GPIO_PIN_15, GPIO_PIN_RESET);

    /* Buzzer OFF */
    HAL_GPIO_WritePin(GPIOC, GPIO_PIN_14, GPIO_PIN_RESET);

    /* Fan/control output initial state */
    HAL_GPIO_WritePin(GPIOC, GPIO_PIN_15, GPIO_PIN_SET);
		HAL_TIM_PWM_Start(&htim3, TIM_CHANNEL_2);
  /* USER CODE END 2 */

  /* Infinite loop */
  while (1)
  {

    /* USER CODE BEGIN 3 */
    /*
     * UI:
     *  TIM2 encoder -> VSET
     *  TIM4 encoder -> ISET
     *  PB9          -> Output ON/OFF
     */
    BBUI_Task();
    handle_temp();
  }
  /* USER CODE END 3 */
}

void SystemClock_Config(void)
{
  RCC_OscInitTypeDef RCC_OscInitStruct = {0};
  RCC_ClkInitTypeDef RCC_ClkInitStruct = {0};
  RCC_PeriphCLKInitTypeDef PeriphClkInit = {0};

  /** Initializes the RCC Oscillators according to the specified parameters
  * in the RCC_OscInitTypeDef structure.
  */
  RCC_OscInitStruct.OscillatorType = RCC_OSCILLATORTYPE_HSE;
  RCC_OscInitStruct.HSEState = RCC_HSE_ON;
  RCC_OscInitStruct.HSEPredivValue = RCC_HSE_PREDIV_DIV1;
  RCC_OscInitStruct.HSIState = RCC_HSI_ON;
  RCC_OscInitStruct.PLL.PLLState = RCC_PLL_ON;
  RCC_OscInitStruct.PLL.PLLSource = RCC_PLLSOURCE_HSE;
  RCC_OscInitStruct.PLL.PLLMUL = RCC_PLL_MUL9;
  if (HAL_RCC_OscConfig(&RCC_OscInitStruct) != HAL_OK)
  {
    Error_Handler();
  }

  /** Initializes the CPU, AHB and APB buses clocks
  */
  RCC_ClkInitStruct.ClockType = RCC_CLOCKTYPE_HCLK|RCC_CLOCKTYPE_SYSCLK
                              |RCC_CLOCKTYPE_PCLK1|RCC_CLOCKTYPE_PCLK2;
  RCC_ClkInitStruct.SYSCLKSource = RCC_SYSCLKSOURCE_PLLCLK;
  RCC_ClkInitStruct.AHBCLKDivider = RCC_SYSCLK_DIV1;
  RCC_ClkInitStruct.APB1CLKDivider = RCC_HCLK_DIV2;
  RCC_ClkInitStruct.APB2CLKDivider = RCC_HCLK_DIV1;

  if (HAL_RCC_ClockConfig(&RCC_ClkInitStruct, FLASH_LATENCY_2) != HAL_OK)
  {
    Error_Handler();
  }
  PeriphClkInit.PeriphClockSelection = RCC_PERIPHCLK_ADC|RCC_PERIPHCLK_USB;
  PeriphClkInit.AdcClockSelection = RCC_ADCPCLK2_DIV6;
  PeriphClkInit.UsbClockSelection = RCC_USBCLKSOURCE_PLL_DIV1_5;
  if (HAL_RCCEx_PeriphCLKConfig(&PeriphClkInit) != HAL_OK)
  {
    Error_Handler();
  }
}

static void MX_ADC1_Init(void)
{

  ADC_ChannelConfTypeDef sConfig = {0};

  /** Common config
  */
  hadc1.Instance = ADC1;
  hadc1.Init.ScanConvMode = ADC_SCAN_ENABLE;
  hadc1.Init.ContinuousConvMode = ENABLE;
  hadc1.Init.DiscontinuousConvMode = DISABLE;
  hadc1.Init.ExternalTrigConv = ADC_SOFTWARE_START;
  hadc1.Init.DataAlign = ADC_DATAALIGN_RIGHT;
  hadc1.Init.NbrOfConversion = 4;
  if (HAL_ADC_Init(&hadc1) != HAL_OK)
  {
    Error_Handler();
  }

  /** Configure Regular Channel
  */
  sConfig.Channel = ADC_CHANNEL_0;
  sConfig.Rank = ADC_REGULAR_RANK_1;
  sConfig.SamplingTime = ADC_SAMPLETIME_71CYCLES_5;
  if (HAL_ADC_ConfigChannel(&hadc1, &sConfig) != HAL_OK)
  {
    Error_Handler();
  }

  /** Configure Regular Channel
  */
  sConfig.Channel = ADC_CHANNEL_1;
  sConfig.Rank = ADC_REGULAR_RANK_2;
  if (HAL_ADC_ConfigChannel(&hadc1, &sConfig) != HAL_OK)
  {
    Error_Handler();
  }

  /** Configure Regular Channel
  */
  sConfig.Channel = ADC_CHANNEL_3;
  sConfig.Rank = ADC_REGULAR_RANK_3;
  if (HAL_ADC_ConfigChannel(&hadc1, &sConfig) != HAL_OK)
  {
    Error_Handler();
  }

  /** Configure Regular Channel
  */
  sConfig.Channel = ADC_CHANNEL_4;
  sConfig.Rank = ADC_REGULAR_RANK_4;
  if (HAL_ADC_ConfigChannel(&hadc1, &sConfig) != HAL_OK)
  {
    Error_Handler();
  }

}

static void MX_ADC2_Init(void)
{

  ADC_ChannelConfTypeDef sConfig = {0};

  /** Common config
  */
  hadc2.Instance = ADC2;
  hadc2.Init.ScanConvMode = ADC_SCAN_DISABLE;
  hadc2.Init.ContinuousConvMode = DISABLE;
  hadc2.Init.DiscontinuousConvMode = DISABLE;
  hadc2.Init.ExternalTrigConv = ADC_SOFTWARE_START;
  hadc2.Init.DataAlign = ADC_DATAALIGN_RIGHT;
  hadc2.Init.NbrOfConversion = 1;
  if (HAL_ADC_Init(&hadc2) != HAL_OK)
  {
    Error_Handler();
  }

  /** Configure Regular Channel
  */
  sConfig.Channel = ADC_CHANNEL_2;
  sConfig.Rank = ADC_REGULAR_RANK_1;
  sConfig.SamplingTime = ADC_SAMPLETIME_239CYCLES_5;
  if (HAL_ADC_ConfigChannel(&hadc2, &sConfig) != HAL_OK)
  {
    Error_Handler();
  }

}

static void MX_SPI1_Init(void)
{

  /* SPI1 parameter configuration*/
  hspi1.Instance = SPI1;
  hspi1.Init.Mode = SPI_MODE_MASTER;
  hspi1.Init.Direction = SPI_DIRECTION_2LINES;
  hspi1.Init.DataSize = SPI_DATASIZE_8BIT;
  hspi1.Init.CLKPolarity = SPI_POLARITY_LOW;
  hspi1.Init.CLKPhase = SPI_PHASE_1EDGE;
  hspi1.Init.NSS = SPI_NSS_SOFT;
  hspi1.Init.BaudRatePrescaler = SPI_BAUDRATEPRESCALER_4;
  hspi1.Init.FirstBit = SPI_FIRSTBIT_MSB;
  hspi1.Init.TIMode = SPI_TIMODE_DISABLE;
  hspi1.Init.CRCCalculation = SPI_CRCCALCULATION_DISABLE;
  hspi1.Init.CRCPolynomial = 10;
  if (HAL_SPI_Init(&hspi1) != HAL_OK)
  {
    Error_Handler();
  }

}

static void MX_TIM1_Init(void)
{

  TIM_ClockConfigTypeDef sClockSourceConfig = {0};
  TIM_MasterConfigTypeDef sMasterConfig = {0};
  TIM_OC_InitTypeDef sConfigOC = {0};
  TIM_BreakDeadTimeConfigTypeDef sBreakDeadTimeConfig = {0};

  htim1.Instance = TIM1;

  /*
   * =====================================================
   * POWER-STAGE GATE DRIVER MAPPING
   * =====================================================
   *
   * BUCK bridge - IR2101S:
   *   TIM1_CH1  -> HIN -> Q1 high-side
   *   TIM1_CH1N -> LIN -> Q2 low-side
   *
   * PURE BUCK:
   *   TIM1_CH1  -> HIN -> Q1 high-side
   *   TIM1_CH1N -> LIN -> Q2 low-side
   *
   * Old CH2/CH2N boost commands are never enabled.
   * Q4 low-side must remain OFF.
   */

  /*
   * TIM1 power-stage PWM:
   *
   * timer clock = 72 MHz
   * PSC = 5   -> counter clock = 12 MHz
   * ARR = 799 -> PWM = 12 MHz / 800 = 15 kHz
   *
   * RCR = 2:
   * update IRQ = 15 kHz / 3 = 5 kHz
   *
   * Therefore:
   *   PWM = 15 kHz
   *   CC  = 5 kHz, Ts = 200 us
   *   CV  = 1 kHz, Ts = 1 ms (CV_LOOP_DIV = 5)
   */
  htim1.Init.Prescaler = 0;
  htim1.Init.CounterMode = TIM_COUNTERMODE_UP;
  htim1.Init.Period = 4799;
  htim1.Init.ClockDivision = TIM_CLOCKDIVISION_DIV1;
  htim1.Init.RepetitionCounter = 4;
  htim1.Init.AutoReloadPreload = TIM_AUTORELOAD_PRELOAD_DISABLE;
  if (HAL_TIM_Base_Init(&htim1) != HAL_OK)
  {
    Error_Handler();
  }
  sClockSourceConfig.ClockSource = TIM_CLOCKSOURCE_INTERNAL;
  if (HAL_TIM_ConfigClockSource(&htim1, &sClockSourceConfig) != HAL_OK)
  {
    Error_Handler();
  }
  if (HAL_TIM_PWM_Init(&htim1) != HAL_OK)
  {
    Error_Handler();
  }
  sMasterConfig.MasterOutputTrigger = TIM_TRGO_OC3REF;
  sMasterConfig.MasterSlaveMode = TIM_MASTERSLAVEMODE_DISABLE;
  if (HAL_TIMEx_MasterConfigSynchronization(&htim1, &sMasterConfig) != HAL_OK)
  {
    Error_Handler();
  }
  sConfigOC.OCMode = TIM_OCMODE_PWM1;
  sConfigOC.Pulse = 0;
  sConfigOC.OCPolarity = TIM_OCPOLARITY_HIGH;
  sConfigOC.OCNPolarity = TIM_OCNPOLARITY_HIGH;
  sConfigOC.OCFastMode = TIM_OCFAST_DISABLE;
  sConfigOC.OCIdleState = TIM_OCIDLESTATE_RESET;
  sConfigOC.OCNIdleState = TIM_OCNIDLESTATE_RESET;
  if (HAL_TIM_PWM_ConfigChannel(&htim1, &sConfigOC, TIM_CHANNEL_1) != HAL_OK)
  {
    Error_Handler();
  }
  /*
   * PURE BUCK:
   * TIM1 CH2/CH2N are intentionally NOT configured for PWM.
   *
   * Q3 has been bypassed in hardware.
   * Q4 must be held permanently OFF.
   */
  sBreakDeadTimeConfig.OffStateRunMode = TIM_OSSR_DISABLE;
  sBreakDeadTimeConfig.OffStateIDLEMode = TIM_OSSI_DISABLE;
  sBreakDeadTimeConfig.LockLevel = TIM_LOCKLEVEL_OFF;
  sBreakDeadTimeConfig.DeadTime = 30;
  sBreakDeadTimeConfig.BreakState = TIM_BREAK_DISABLE;
  sBreakDeadTimeConfig.BreakPolarity = TIM_BREAKPOLARITY_HIGH;
  sBreakDeadTimeConfig.AutomaticOutput = TIM_AUTOMATICOUTPUT_DISABLE;
  if (HAL_TIMEx_ConfigBreakDeadTime(&htim1, &sBreakDeadTimeConfig) != HAL_OK)
  {
    Error_Handler();
  }
  HAL_TIM_MspPostInit(&htim1);

}

static void MX_TIM2_Init(void)
{

  TIM_Encoder_InitTypeDef sConfig = {0};
  TIM_MasterConfigTypeDef sMasterConfig = {0};

  htim2.Instance = TIM2;
  htim2.Init.Prescaler = 0;
  htim2.Init.CounterMode = TIM_COUNTERMODE_UP;
  htim2.Init.Period = 65535;
  htim2.Init.ClockDivision = TIM_CLOCKDIVISION_DIV1;
  htim2.Init.AutoReloadPreload = TIM_AUTORELOAD_PRELOAD_DISABLE;
  sConfig.EncoderMode = TIM_ENCODERMODE_TI12;
  sConfig.IC1Polarity = TIM_ICPOLARITY_RISING;
  sConfig.IC1Selection = TIM_ICSELECTION_DIRECTTI;
  sConfig.IC1Prescaler = TIM_ICPSC_DIV1;
  sConfig.IC1Filter = 0;
  sConfig.IC2Polarity = TIM_ICPOLARITY_RISING;
  sConfig.IC2Selection = TIM_ICSELECTION_DIRECTTI;
  sConfig.IC2Prescaler = TIM_ICPSC_DIV1;
  sConfig.IC2Filter = 0;
  if (HAL_TIM_Encoder_Init(&htim2, &sConfig) != HAL_OK)
  {
    Error_Handler();
  }
  sMasterConfig.MasterOutputTrigger = TIM_TRGO_RESET;
  sMasterConfig.MasterSlaveMode = TIM_MASTERSLAVEMODE_DISABLE;
  if (HAL_TIMEx_MasterConfigSynchronization(&htim2, &sMasterConfig) != HAL_OK)
  {
    Error_Handler();
  }

}

static void MX_TIM3_Init(void)
{

  TIM_ClockConfigTypeDef sClockSourceConfig = {0};
  TIM_MasterConfigTypeDef sMasterConfig = {0};
  TIM_OC_InitTypeDef sConfigOC = {0};

  htim3.Instance = TIM3;
  /*
   * Heater PWM:
   *
   * TIM3CLK = 72 MHz
   * PSC = 20, ARR = 1000
   * fPWM = 72 MHz / (21 * 1001) ~= 3.43 kHz
   *
   * The temperature PID in UI_Solider.c controls TIM3 CH2 duty
   * during the HEAT window.
   */
  htim3.Init.Prescaler = 20;
  htim3.Init.CounterMode = TIM_COUNTERMODE_UP;
  htim3.Init.Period = 1000;
  htim3.Init.ClockDivision = TIM_CLOCKDIVISION_DIV1;
  htim3.Init.AutoReloadPreload = TIM_AUTORELOAD_PRELOAD_ENABLE;
  if (HAL_TIM_Base_Init(&htim3) != HAL_OK)
  {
    Error_Handler();
  }
  sClockSourceConfig.ClockSource = TIM_CLOCKSOURCE_INTERNAL;
  if (HAL_TIM_ConfigClockSource(&htim3, &sClockSourceConfig) != HAL_OK)
  {
    Error_Handler();
  }
  if (HAL_TIM_PWM_Init(&htim3) != HAL_OK)
  {
    Error_Handler();
  }
  sMasterConfig.MasterOutputTrigger = TIM_TRGO_UPDATE;
  sMasterConfig.MasterSlaveMode = TIM_MASTERSLAVEMODE_DISABLE;
  if (HAL_TIMEx_MasterConfigSynchronization(&htim3, &sMasterConfig) != HAL_OK)
  {
    Error_Handler();
  }
  sConfigOC.OCMode = TIM_OCMODE_PWM1;
  sConfigOC.Pulse = 0;
  sConfigOC.OCPolarity = TIM_OCPOLARITY_LOW;
  sConfigOC.OCFastMode = TIM_OCFAST_DISABLE;
  if (HAL_TIM_PWM_ConfigChannel(&htim3, &sConfigOC, TIM_CHANNEL_2) != HAL_OK)
  {
    Error_Handler();
  }
  HAL_TIM_MspPostInit(&htim3);

}

static void MX_TIM4_Init(void)
{

  TIM_Encoder_InitTypeDef sConfig = {0};
  TIM_MasterConfigTypeDef sMasterConfig = {0};

  htim4.Instance = TIM4;
  htim4.Init.Prescaler = 0;
  htim4.Init.CounterMode = TIM_COUNTERMODE_UP;
  htim4.Init.Period = 65535;
  htim4.Init.ClockDivision = TIM_CLOCKDIVISION_DIV1;
  htim4.Init.AutoReloadPreload = TIM_AUTORELOAD_PRELOAD_DISABLE;
  sConfig.EncoderMode = TIM_ENCODERMODE_TI12;
  sConfig.IC1Polarity = TIM_ICPOLARITY_RISING;
  sConfig.IC1Selection = TIM_ICSELECTION_DIRECTTI;
  sConfig.IC1Prescaler = TIM_ICPSC_DIV1;
  sConfig.IC1Filter = 0;
  sConfig.IC2Polarity = TIM_ICPOLARITY_RISING;
  sConfig.IC2Selection = TIM_ICSELECTION_DIRECTTI;
  sConfig.IC2Prescaler = TIM_ICPSC_DIV1;
  sConfig.IC2Filter = 0;
  if (HAL_TIM_Encoder_Init(&htim4, &sConfig) != HAL_OK)
  {
    Error_Handler();
  }
  sMasterConfig.MasterOutputTrigger = TIM_TRGO_RESET;
  sMasterConfig.MasterSlaveMode = TIM_MASTERSLAVEMODE_DISABLE;
  if (HAL_TIMEx_MasterConfigSynchronization(&htim4, &sMasterConfig) != HAL_OK)
  {
    Error_Handler();
  }

}

static void MX_DMA_Init(void)
{

  /* DMA controller clock enable */
  __HAL_RCC_DMA1_CLK_ENABLE();

  /* DMA interrupt init */
  /* DMA1_Channel1_IRQn interrupt configuration */
  HAL_NVIC_SetPriority(DMA1_Channel1_IRQn, 0, 0);
  HAL_NVIC_EnableIRQ(DMA1_Channel1_IRQn);
  /* DMA1_Channel3_IRQn interrupt configuration */
  HAL_NVIC_SetPriority(DMA1_Channel3_IRQn, 0, 0);
  HAL_NVIC_EnableIRQ(DMA1_Channel3_IRQn);

}

static void MX_GPIO_Init(void)
{
  GPIO_InitTypeDef GPIO_InitStruct = {0};

  /* GPIO Ports Clock Enable */
  __HAL_RCC_GPIOC_CLK_ENABLE();
  __HAL_RCC_GPIOD_CLK_ENABLE();
  __HAL_RCC_GPIOA_CLK_ENABLE();
  __HAL_RCC_GPIOB_CLK_ENABLE();

  /*Configure GPIO pin Output Level */
  HAL_GPIO_WritePin(GPIOC, GPIO_PIN_13|GPIO_PIN_14|GPIO_PIN_15, GPIO_PIN_RESET);

  /*Configure GPIO pin Output Level */
  HAL_GPIO_WritePin(GPIOB, GPIO_PIN_0|GPIO_PIN_1|GPIO_PIN_10|GPIO_PIN_15, GPIO_PIN_RESET);

  /*Configure GPIO pins : PC13 PC14 PC15 */
  GPIO_InitStruct.Pin = GPIO_PIN_13|GPIO_PIN_14|GPIO_PIN_15;
  GPIO_InitStruct.Mode = GPIO_MODE_OUTPUT_PP;
  GPIO_InitStruct.Pull = GPIO_NOPULL;
  GPIO_InitStruct.Speed = GPIO_SPEED_FREQ_LOW;
  HAL_GPIO_Init(GPIOC, &GPIO_InitStruct);

  /*Configure GPIO pins : PB0 PB1 PB10 PB15 */
  GPIO_InitStruct.Pin = GPIO_PIN_0|GPIO_PIN_1|GPIO_PIN_10|GPIO_PIN_15;
  GPIO_InitStruct.Mode = GPIO_MODE_OUTPUT_PP;
  GPIO_InitStruct.Pull = GPIO_NOPULL;
  GPIO_InitStruct.Speed = GPIO_SPEED_FREQ_LOW;
  HAL_GPIO_Init(GPIOB, &GPIO_InitStruct);

  /*Configure GPIO pin : PB11
   *
   * SOLDER holder/sleep input:
   *   LOW  = iron in holder  -> SLEEP
   *   HIGH = iron removed    -> WAKE
   *
   * Use internal PULLUP so the released/open state is never floating.
   */
  GPIO_InitStruct.Pin = GPIO_PIN_11;
  GPIO_InitStruct.Mode = GPIO_MODE_INPUT;
  GPIO_InitStruct.Pull = GPIO_PULLUP;
  HAL_GPIO_Init(GPIOB, &GPIO_InitStruct);

  /*Configure GPIO pins : PB12 PB4 PB8 PB9 */
  GPIO_InitStruct.Pin = GPIO_PIN_12|GPIO_PIN_4|GPIO_PIN_8|GPIO_PIN_9;
  GPIO_InitStruct.Mode = GPIO_MODE_INPUT;
  GPIO_InitStruct.Pull = GPIO_PULLUP;
  HAL_GPIO_Init(GPIOB, &GPIO_InitStruct);

  /*Configure GPIO pin : PA10 */
  GPIO_InitStruct.Pin = GPIO_PIN_10;
  GPIO_InitStruct.Mode = GPIO_MODE_INPUT;
  GPIO_InitStruct.Pull = GPIO_PULLUP;
  HAL_GPIO_Init(GPIOA, &GPIO_InitStruct);

}

void Error_Handler(void)
{
  __disable_irq();
  while (1)
  {
  }
}
